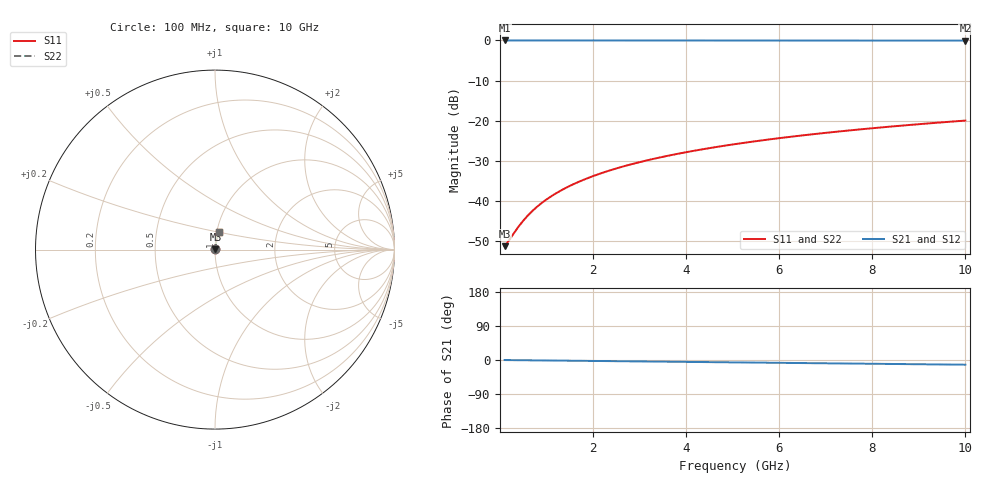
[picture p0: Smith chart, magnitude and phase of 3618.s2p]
# Hz S RI R 50.00
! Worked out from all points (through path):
!   100 points, 100 MHz to 10 GHz, reference 50 ohm
!   highest |S21| = -0.02 dB at 100 MHz (marker M1); lowest = -0.1 dB at 10 GHz (marker M2)
!   group delay of S21, straight-line fit = 3.45 ps
!   lowest |S11| = -51.2 dB at 100 MHz (marker M3), VSWR 1.01, Z = 50.3 + j0.101 ohm
!   |S11| at or under -10 dB: start of sweep to end of sweep
!   |S22| runs from -51.2 to -20.0 dB; largest |S21 - S12| = 0
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1e8  0.00255 0.00101  0.9974 -0.00216  0.9974 -0.00216  0.00255 0.00101
2e8  0.00257 0.00201  0.9974 -0.00433  0.9974 -0.00433  0.00257 0.00201
4e8  0.00262 0.00403  0.9974 -0.00866  0.9974 -0.00866  0.00262 0.00403
5e8  0.00265 0.00503  0.9973 -0.0108  0.9973 -0.0108  0.00265 0.00503
6e8  0.00268 0.00604  0.9973 -0.013  0.9973 -0.013  0.00268 0.00604
7e8  0.00271 0.00705  0.9972 -0.0151  0.9972 -0.0151  0.00271 0.00705
8e8  0.00275 0.00805  0.9972 -0.0173  0.9972 -0.0173  0.00275 0.00805
1e9  0.00284 0.0101  0.9971 -0.0216  0.9971 -0.0216  0.00284 0.0101
1.2e9  0.00295 0.0121  0.9969 -0.026  0.9969 -0.026  0.00295 0.0121
1.5e9  0.00314 0.0151  0.9967 -0.0324  0.9967 -0.0324  0.00314 0.0151
1.8e9  0.00336 0.0181  0.9964 -0.0389  0.9964 -0.0389  0.00336 0.0181
2.1e9  0.00363 0.0211  0.9961 -0.0454  0.9961 -0.0454  0.00363 0.0211
2.5e9  0.00404 0.0251  0.9955 -0.0541  0.9955 -0.0541  0.00404 0.0251
2.9e9  0.00452 0.0291  0.9949 -0.0627  0.9949 -0.0627  0.00452 0.0291
3.4e9  0.00522 0.0341  0.994 -0.0735  0.994 -0.0735  0.00522 0.0341
4.2e9  0.00656 0.042  0.9922 -0.0907  0.9922 -0.0907  0.00656 0.042
5.1e9  0.0084 0.0509  0.9898 -0.11  0.9898 -0.11  0.0084 0.0509
5.9e9  0.0103 0.0587  0.9873 -0.1271  0.9873 -0.1271  0.0103 0.0587
6.7e9  0.0125 0.0664  0.9844 -0.1441  0.9844 -0.1441  0.0125 0.0664
7.5e9  0.015 0.0741  0.9812 -0.161  0.9812 -0.161  0.015 0.0741
8.4e9  0.018 0.0826  0.9771 -0.18  0.9771 -0.18  0.018 0.0826
1e10  0.0243 0.0973  0.9688 -0.2134  0.9688 -0.2134  0.0243 0.0973
